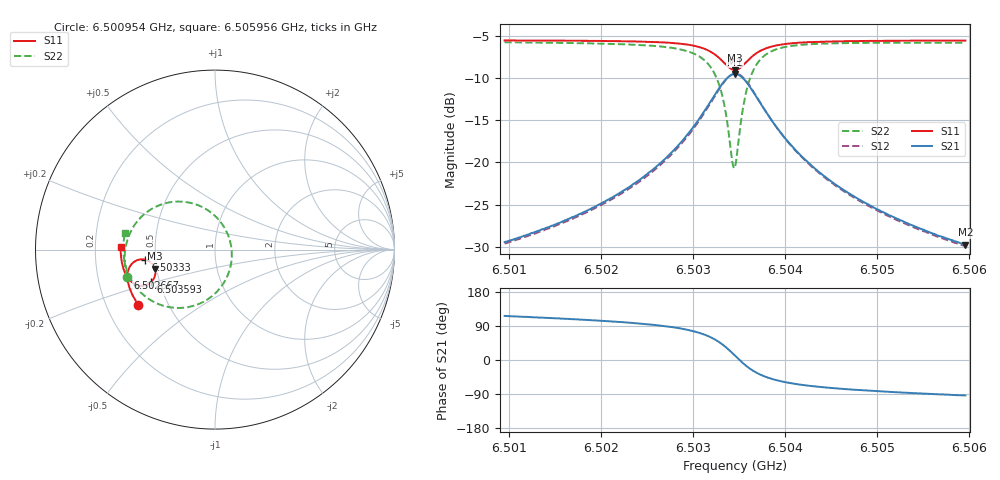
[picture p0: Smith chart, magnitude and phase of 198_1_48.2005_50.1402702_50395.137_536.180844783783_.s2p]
#  HZ  S  RI  R  50.00
! Rohde & Schwarz Vector Network Analyzer
! Rohde-Schwarz,ZNB20-2Port,1311601062101988,3.16
! Created: UTC 3/20/2024, 11:44:54 AM
! freq[Hz]  re:S11  im:S11  re:S21  im:S21  re:S12  im:S12  re:S22  im:S22
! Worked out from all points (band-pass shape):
!   401 points, 6.500954 GHz to 6.505956 GHz, reference 50 ohm
!   highest |S21| = -9.54 dB at 6.503455 GHz (marker M1); lowest = -29.7 dB at 6.505956 GHz (marker M2)
!   |S21| within 3 dB of the highest: 6.503204 GHz to 6.503705 GHz (500.5 kHz wide, 0.0077 % of centre)
!   lowest |S11| = -9.1 dB at 6.503455 GHz (marker M3), VSWR 2.08, Z = 24.4 - j5.91 ohm
!   |S11| at or under -10 dB: nowhere
!   |S22| runs from -20.7 to -5.8 dB; largest |S21 - S12| = 0.012
!   S11 on the Smith chart (normalised r, x): 6.500954 GHz: 0.34, -0.29; 6.502667 GHz: 0.33, -0.14; 6.50333 GHz: 0.44, -0.06; 6.503593 GHz: 0.45, -0.19; 6.505956 GHz: 0.31, +0.01
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6.5009543e9  -0.4265 -0.3088  -0.015 0.0303  -0.0132 0.0303  -0.49 -0.1538
6.501792e9  -0.4626 -0.2468  -0.0142 0.048  -0.0118 0.0477  -0.5031 -0.0646
6.5022797e9  -0.4794 -0.2031  -0.0109 0.0692  -0.00789 0.0679  -0.4992 0.00576
6.5026298e9  -0.4875 -0.164  -0.00208 0.0973  0.00159 0.095  -0.4801 0.077
6.5026673e9  -0.4878 -0.1593  -0.000246 0.1015  0.00344 0.099  -0.4761 0.0865
6.5029424e9  -0.4837 -0.1161  0.0269 0.1444  0.0305 0.1398  -0.4198 0.1726
6.50313e9  -0.4619 -0.0778  0.0816 0.1868  0.0841 0.1804  -0.3147 0.2454
6.5032425e9  -0.429 -0.0573  0.1517 0.2042  0.1524 0.1978  -0.1886 0.2674
6.50333e9  -0.3879 -0.0559  0.2321 0.1875  0.2323 0.1823  -0.0496 0.2255
6.5034176e9  -0.3458 -0.0843  0.3091 0.1138  0.3115 0.1092  0.0731 0.0807
6.5034426e9  -0.338 -0.0984  0.3224 0.0825  0.3254 0.0772  0.0896 0.0217
6.5034551e9  -0.3352 -0.1061  0.3267 0.0659  0.33 0.0599  0.0934 -0.00922
6.5034801e9  -0.3324 -0.1219  0.3302 0.0318  0.3336 0.0246  0.0909 -0.0716
6.5035426e9  -0.3398 -0.1596  0.311 -0.047  0.3132 -0.0571  0.0333 -0.2084
6.5035926e9  -0.3564 -0.1817  0.277 -0.0928  0.2765 -0.1041  -0.0445 -0.2794
6.5037052e9  -0.4014 -0.2011  0.1916 -0.1374  0.186 -0.147  -0.2175 -0.3249
6.5038677e9  -0.4477 -0.1914  0.1091 -0.1338  0.102 -0.1388  -0.3658 -0.2771
6.5040428e9  -0.4753 -0.1701  0.0643 -0.1133  0.0579 -0.1155  -0.4382 -0.2113
6.5042929e9  -0.4961 -0.1402  0.0341 -0.0886  0.0293 -0.0892  -0.4818 -0.1386
6.5046305e9  -0.5105 -0.1046  0.0162 -0.0669  0.0128 -0.0666  -0.5029 -0.0698
6.5051306e9  -0.521 -0.058  0.00503 -0.0483  0.00284 -0.0478  -0.5105 0.00221
6.5059559e9  -0.5259 0.0119  -0.00206 -0.0325  -0.00337 -0.0318  -0.5026 0.09
